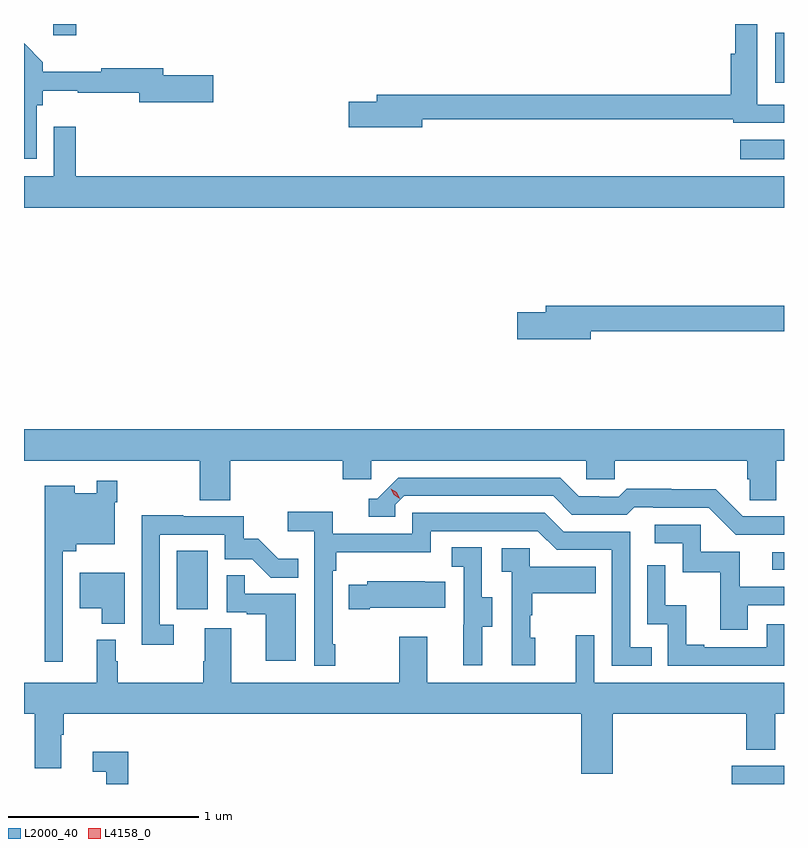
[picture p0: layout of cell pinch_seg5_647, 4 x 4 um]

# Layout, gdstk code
import gdstk
lib = gdstk.Library(unit=1e-6, precision=1e-09)
def R(c, l, rs):  # rectangles x0, y0, x1, y1
    for r in rs: c.add(gdstk.rectangle(r[:2], r[2:], *l))
def P(c, l, *ps):  # polygons
    for p in ps: c.add(gdstk.Polygon(p, *l))
L2000_40 = (2000, 40)
L4158_0 = (4158, 0)

pinch_seg5_647 = lib.new_cell('pinch_seg5_647')
R(pinch_seg5_647, L2000_40, [(1048.915,845.734,1049.19,845.829), (1045.994,846.654,1046.158,846.961), (1049.127,846.861,1049.19,846.954), (1048.959,849.023,1049.19,849.124), (1049.144,849.425,1049.19,849.688), (1045.343,849.675,1045.466,849.734)])
P(pinch_seg5_647, L2000_40, [(1047.286,849.234),(1048.922,849.234),(1048.922,849.213),(1049.19,849.213),(1049.19,849.309),(1049.049,849.309),(1049.049,849.734),(1048.933,849.734),(1048.933,849.577),(1048.91,849.577),(1048.91,849.362),(1047.047,849.362),(1047.047,849.326),(1046.898,849.326),(1046.898,849.191),(1047.286,849.191)],
  [(1045.258,849.306),(1045.289,849.306),(1045.289,849.383),(1045.472,849.383),(1045.472,849.372),(1045.796,849.372),(1045.796,849.322),(1046.185,849.322),(1046.185,849.464),(1045.924,849.464),(1045.924,849.5),(1045.596,849.5),(1045.596,849.482),(1045.289,849.482),(1045.289,849.534),(1045.19,849.633),(1045.19,849.026),(1045.258,849.026)],
  [(1049.19,848.932),(1045.463,848.932),(1045.463,849.193),(1045.347,849.193),(1045.347,848.932),(1045.19,848.932),(1045.19,848.768),(1049.19,848.768)],
  [(1048.174,848.116),(1049.19,848.116),(1049.19,848.252),(1047.935,848.252),(1047.935,848.216),(1047.786,848.216),(1047.786,848.074),(1048.174,848.074)],
  [(1045.19,847.436),(1046.116,847.436),(1046.116,847.228),(1046.276,847.228),(1046.276,847.436),(1046.867,847.436),(1046.867,847.338),(1047.018,847.338),(1047.018,847.436),(1048.149,847.436),(1048.149,847.338),(1048.299,847.338),(1048.299,847.436),(1048.997,847.436),(1048.997,847.338),(1049.011,847.338),(1049.011,847.228),(1049.148,847.228),(1049.148,847.436),(1049.19,847.436),(1049.19,847.6),(1045.19,847.6)],
  [(1049.19,847.143),(1048.974,847.143),(1048.832,847.285),(1048.596,847.285),(1048.596,847.288),(1048.363,847.288),(1048.321,847.245),(1048.218,847.245),(1048.218,847.248),(1048.111,847.248),(1048.012,847.347),(1047.159,847.347),(1047.048,847.236),(1047.005,847.236),(1047.005,847.14),(1047.144,847.14),(1047.144,847.203),(1047.192,847.251),(1047.975,847.251),(1048.074,847.152),(1048.363,847.152),(1048.402,847.191),(1048.501,847.191),(1048.501,847.188),(1048.794,847.188),(1048.935,847.047),(1049.19,847.047)],
  [(1045.395,846.959),(1045.464,846.959),(1045.464,846.995),(1045.668,846.995),(1045.668,847.217),(1045.68,847.217),(1045.68,847.33),(1045.572,847.33),(1045.572,847.264),(1045.456,847.264),(1045.456,847.303),(1045.298,847.303),(1045.298,846.378),(1045.395,846.378)],
  [(1046.827,846.469),(1046.814,846.469),(1046.814,846.857),(1046.834,846.857),(1046.834,846.953),(1047.33,846.953),(1047.33,847.065),(1047.894,847.065),(1047.993,846.966),(1048.284,846.966),(1048.284,846.357),(1048.493,846.357),(1048.493,846.453),(1048.38,846.453),(1048.38,847.062),(1048.03,847.062),(1047.931,847.161),(1047.234,847.161),(1047.234,847.05),(1046.816,847.05),(1046.816,847.166),(1046.577,847.166),(1046.577,847.064),(1046.718,847.064),(1046.718,846.357),(1046.827,846.357)],
  [(1045.978,846.573),(1045.905,846.573),(1045.905,847.047),(1046.247,847.047),(1046.247,846.918),(1046.391,846.918),(1046.489,846.82),(1046.633,846.82),(1046.633,846.919),(1046.529,846.919),(1046.422,847.026),(1046.346,847.026),(1046.346,847.143),(1046.027,847.143),(1046.027,847.148),(1045.809,847.148),(1045.809,846.468),(1045.978,846.468)],
  [(1048.999,846.675),(1049.19,846.675),(1049.19,846.771),(1048.957,846.771),(1048.957,846.957),(1048.752,846.957),(1048.752,847.098),(1048.509,847.098),(1048.509,847.002),(1048.656,847.002),(1048.656,846.849),(1048.855,846.849),(1048.855,846.546),(1048.999,846.546)],
  [(1047.601,846.562),(1047.655,846.562),(1047.655,846.717),(1047.6,846.717),(1047.6,846.98),(1047.441,846.98),(1047.441,846.877),(1047.504,846.877),(1047.504,846.573),(1047.503,846.573),(1047.503,846.36),(1047.601,846.36)],
  [(1047.88,846.504),(1047.855,846.504),(1047.855,846.623),(1047.865,846.623),(1047.865,846.737),(1048.199,846.737),(1048.199,846.877),(1047.852,846.877),(1047.852,846.975),(1047.705,846.975),(1047.705,846.851),(1047.756,846.851),(1047.756,846.36),(1047.88,846.36)],
  [(1049.19,846.576),(1049.1,846.576),(1049.1,846.453),(1048.771,846.453),(1048.771,846.466),(1048.676,846.466),(1048.676,846.674),(1048.566,846.674),(1048.566,846.886),(1048.47,846.886),(1048.47,846.576),(1048.578,846.576),(1048.578,846.357),(1049.19,846.357)],
  [(1045.72,846.847),(1045.484,846.847),(1045.484,846.659),(1045.598,846.659),(1045.598,846.578),(1045.72,846.578)],
  [(1046.62,846.735),(1046.351,846.735),(1046.351,846.833),(1046.256,846.833),(1046.256,846.639),(1046.363,846.639),(1046.363,846.627),(1046.462,846.627),(1046.462,846.384),(1046.62,846.384)],
  [(1047.01,846.662),(1047.407,846.662),(1047.407,846.799),(1047.299,846.799),(1047.299,846.802),(1046.997,846.802),(1046.997,846.784),(1046.899,846.784),(1046.899,846.655),(1047.01,846.655)],
  [(1048.288,846.104),(1048.991,846.104),(1048.991,845.914),(1049.143,845.914),(1049.143,846.104),(1049.19,846.104),(1049.19,846.268),(1048.191,846.268),(1048.191,846.517),(1048.094,846.517),(1048.094,846.268),(1047.313,846.268),(1047.313,846.508),(1047.166,846.508),(1047.166,846.268),(1046.281,846.268),(1046.281,846.554),(1046.141,846.554),(1046.141,846.38),(1046.134,846.38),(1046.134,846.268),(1045.684,846.268),(1045.684,846.38),(1045.672,846.38),(1045.672,846.493),(1045.574,846.493),(1045.574,846.268),(1045.19,846.268),(1045.19,846.104),(1045.247,846.104),(1045.247,845.818),(1045.387,845.818),(1045.387,845.992),(1045.4,845.992),(1045.4,846.104),(1048.124,846.104),(1048.124,845.787),(1048.288,845.787)],
  [(1045.739,845.905),(1045.551,845.905),(1045.551,845.799),(1045.623,845.799),(1045.623,845.734),(1045.739,845.734)])
P(pinch_seg5_647, L4158_0, [(1047.167,847.236),(1047.136,847.256),(1047.12,847.288),(1047.12,847.289),(1047.121,847.289),(1047.151,847.269),(1047.167,847.236),(1047.167,847.236)])

lib.write_gds('pinch_seg5_647.gds')
